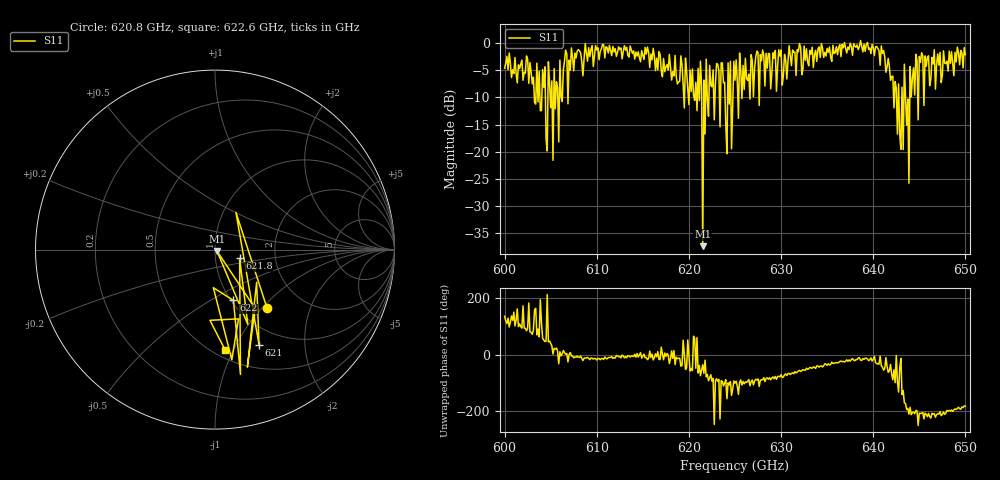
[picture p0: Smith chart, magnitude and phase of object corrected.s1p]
!Created with skrf (http://scikit-rf.org).
# GHz S MA R 50.0
!freq magS11 angS11
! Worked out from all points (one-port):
!   401 points, 600 GHz to 650 GHz, reference 50 ohm
!   lowest |S11| = -37.3 dB at 621.5 GHz (marker M1), VSWR 1.03, Z = 51.1 - j0.813 ohm
!   |S11| at or under -10 dB: 603.2252 GHz to 603.3956 GHz (170.3 MHz wide, 0.0282 % of centre); 603.8326 GHz to 604.0404 GHz (207.8 MHz wide, 0.0344 % of centre); 643.501 GHz to 643.967 GHz (466 MHz wide, 0.0724 % of centre) (the widest 3 of 34)
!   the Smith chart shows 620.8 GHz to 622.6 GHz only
!   S11 on the Smith chart (normalised r, x): 620.8 GHz: 1.33, -1.06; 621 GHz: 0.77, -1.25; 621.8 GHz: 1.31, -0.13; 622 GHz: 1.03, -0.64; 622.6 GHz: 0.57, -0.93
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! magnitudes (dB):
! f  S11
! 600 GHz  -4.6
! 602.6 GHz  -7.4
! 604.8 GHz  -3.5
! 606 GHz  -3.2
! 606.2 GHz  -10.8
! 607.9 GHz  -1.5
! 612.5 GHz  -1.2
! 618.8 GHz  -7.5
! 620.8 GHz  -7.2
! 621 GHz  -4.7
! 621.5 GHz  -37.3
! 621.8 GHz  -16.7
! 621.9 GHz  -3.0
! 622 GHz  -10.4
! 622.6 GHz  -5.0
! 623.4 GHz  -15.4
! 624.4 GHz  -11.2
! 625 GHz  -6.9
! 628.1 GHz  -2.3
! 630.4 GHz  -2.1
! 631.2 GHz  -1.3
! 637.5 GHz  0.0
! 641 GHz  -1.9
! 641.9 GHz  -6.9
! 642.8 GHz  -7.5
! 643.8 GHz  -10.3
! 644.5 GHz  -9.6
! 650 GHz  -2.2
